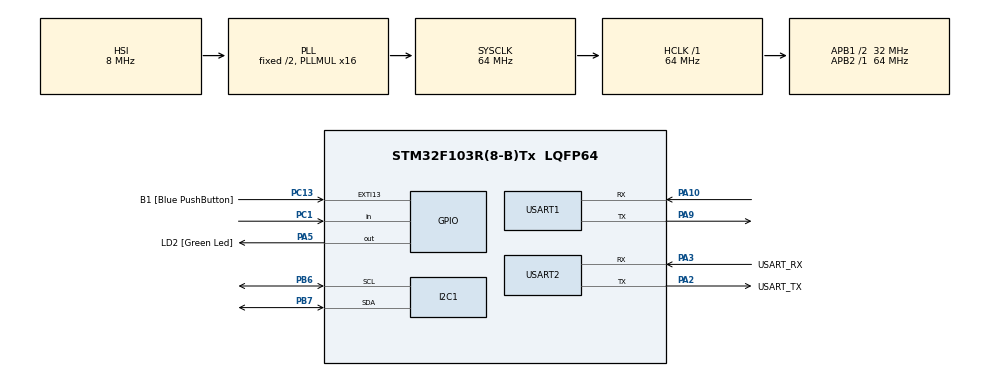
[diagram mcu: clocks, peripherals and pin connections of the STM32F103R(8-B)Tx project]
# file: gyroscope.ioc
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Mcu.Family=STM32F1
Mcu.Name=STM32F103R(8-B)Tx
Mcu.Package=LQFP64
NVIC.EXTI15_10_IRQn=true\:0\:0\:false\:false\:true\:true
NVIC.PriorityGroup=NVIC_PRIORITYGROUP_4
NVIC.TIM4_IRQn=true\:0\:0\:false\:false\:true\:true
NVIC.USART1_IRQn=true\:0\:0\:false\:false\:true\:true
PA10.Mode=Asynchronous
PA10.Signal=USART1_RX
PA13.GPIO_Label=TMS
PA13.Mode=Serial_Wire
PA13.Signal=SYS_JTMS-SWDIO
PA14.GPIO_Label=TCK
PA14.Mode=Serial_Wire
PA14.Signal=SYS_JTCK-SWCLK
PA2.GPIO_Label=USART_TX
PA2.GPIO_Mode=GPIO_MODE_AF_PP
PA2.GPIO_PuPd=GPIO_NOPULL
PA2.GPIO_Speed=GPIO_SPEED_FREQ_LOW
PA2.Mode=Asynchronous
PA2.Signal=USART2_TX
PA3.GPIO_Label=USART_RX
PA3.GPIO_Mode=GPIO_MODE_AF_PP
PA3.GPIO_PuPd=GPIO_NOPULL
PA3.GPIO_Speed=GPIO_SPEED_FREQ_LOW
PA3.Mode=Asynchronous
PA3.Signal=USART2_RX
PA5.GPIO_Label=LD2 [Green Led]
PA5.GPIO_ModeDefaultOutputPP=GPIO_MODE_OUTPUT_PP
PA5.GPIO_PuPd=GPIO_NOPULL
PA5.GPIO_Speed=GPIO_SPEED_FREQ_LOW
PA5.Signal=GPIO_Output
PA9.Mode=Asynchronous
PA9.Signal=USART1_TX
PB3.GPIO_Label=SWO
PB3.Signal=SYS_JTDO-TRACESWO
PB6.Mode=I2C
PB6.Signal=I2C1_SCL
PB7.Mode=I2C
PB7.Signal=I2C1_SDA
PC1.Signal=GPIO_Input
PC13-TAMPER-RTC.GPIO_Label=B1 [Blue PushButton]
PC13-TAMPER-RTC.GPIO_PuPd=GPIO_NOPULL
PC13-TAMPER-RTC.Signal=GPXTI13
PC14-OSC32_IN.Mode=LSE-External-Oscillator
PC14-OSC32_IN.Signal=RCC_OSC32_IN
PC15-OSC32_OUT.Mode=LSE-External-Oscillator
PC15-OSC32_OUT.Signal=RCC_OSC32_OUT
PD0-OSC_IN.Mode=HSE-External-Clock-Source
PD0-OSC_IN.Signal=RCC_OSC_IN
PD1-OSC_OUT.Mode=HSE-External-Clock-Source
PD1-OSC_OUT.Signal=RCC_OSC_OUT
ProjectManager.HeapSize=0x200
ProjectManager.StackSize=0x400
ProjectManager.TargetToolchain=TrueSTUDIO
RCC.AHBFreq_Value=64000000
RCC.APB1CLKDivider=RCC_HCLK_DIV2
RCC.APB1Freq_Value=32000000
RCC.APB1TimFreq_Value=64000000
RCC.APB2Freq_Value=64000000
RCC.APB2TimFreq_Value=64000000
RCC.HCLKFreq_Value=64000000
RCC.PLLMUL=RCC_PLL_MUL16
RCC.RTCClockSelection=RCC_RTCCLKSOURCE_LSE
RCC.SYSCLKFreq_VALUE=64000000
RCC.SYSCLKSource=RCC_SYSCLKSOURCE_PLLCLK
RCC.USBFreq_Value=64000000
TIM4.Period=999
TIM4.Prescaler=63999
USART1.VirtualMode=VM_ASYNC
USART2.VirtualMode=VM_ASYNC
VP_TIM4_VS_ClockSourceINT.Mode=Internal
board=NUCLEO-F103RB

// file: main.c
/**
  ******************************************************************************
  * @file           : main.c
  * @brief          : Main program body
  ******************************************************************************
  ** This notice applies to any and all portions of this file
  * that are not between comment pairs USER CODE BEGIN and
  * USER CODE END. Other portions of this file, whether
  * inserted by the user or by software development tools
  * are owned by their respective copyright owners.
  *
  * COPYRIGHT(c) 2018 STMicroelectronics
  *
  * Redistribution and use in source and binary forms, with or without modification,
  * are permitted provided that the following conditions are met:
  *   1. Redistributions of source code must retain the above copyright notice,
  *      this list of conditions and the following disclaimer.
  *   2. Redistributions in binary form must reproduce the above copyright notice,
  *      this list of conditions and the following disclaimer in the documentation
  *      and/or other materials provided with the distribution.
  *   3. Neither the name of STMicroelectronics nor the names of its contributors
  *      may be used to endorse or promote products derived from this software
  *      without specific prior written permission.
  *
  * THIS SOFTWARE IS PROVIDED BY THE COPYRIGHT HOLDERS AND CONTRIBUTORS "AS IS"
  * AND ANY EXPRESS OR IMPLIED WARRANTIES, INCLUDING, BUT NOT LIMITED TO, THE
  * IMPLIED WARRANTIES OF MERCHANTABILITY AND FITNESS FOR A PARTICULAR PURPOSE ARE
  * DISCLAIMED. IN NO EVENT SHALL THE COPYRIGHT HOLDER OR CONTRIBUTORS BE LIABLE
  * FOR ANY DIRECT, INDIRECT, INCIDENTAL, SPECIAL, EXEMPLARY, OR CONSEQUENTIAL
  * DAMAGES (INCLUDING, BUT NOT LIMITED TO, PROCUREMENT OF SUBSTITUTE GOODS OR
  * SERVICES; LOSS OF USE, DATA, OR PROFITS; OR BUSINESS INTERRUPTION) HOWEVER
  * CAUSED AND ON ANY THEORY OF LIABILITY, WHETHER IN CONTRACT, STRICT LIABILITY,
  * OR TORT (INCLUDING NEGLIGENCE OR OTHERWISE) ARISING IN ANY WAY OUT OF THE USE
  * OF THIS SOFTWARE, EVEN IF ADVISED OF THE POSSIBILITY OF SUCH DAMAGE.
  *
  ******************************************************************************
  */
#include "main.h"
#include "stm32f1xx_hal.h"
/* USER CODE BEGIN Includes */
#include <string.h>
/* USER CODE END Includes */

I2C_HandleTypeDef hi2c1;

TIM_HandleTypeDef htim4;

UART_HandleTypeDef huart1;
UART_HandleTypeDef huart2;

/* USER CODE BEGIN PV */
/* Private variables ---------------------------------------------------------*/
#define GYRO_ADDRESS 0xd5 //(0x35 << 2) //1101 01xx
#define GYRO_ADDRESS_WRITE 	0xd4
#define GYRO_CTRL1_REG 0x20 // 010 0000
#define GYRO_XYZ_ENABLE 0x07 // 0000 0111
#define GYRO_POWER_ON 0x08 // 0000 1000
#define GYRO_Z_H 0x2D // 010 1101

uint8_t settings = GYRO_XYZ_ENABLE | GYRO_POWER_ON;
uint8_t data = 0; // Zmienna do bezposredniego odczytu z akcelerometru
int16_t z_axis = 0; // Zawiera przeksztalcona forme odczytanych danych
char data_to_send[100];
/* USER CODE END PV */

void SystemClock_Config(void);
static void MX_GPIO_Init(void);
static void MX_USART2_UART_Init(void);
static void MX_USART1_UART_Init(void);
static void MX_TIM4_Init(void);
static void MX_I2C1_Init(void);

/* USER CODE BEGIN PFP */
/* Private function prototypes -----------------------------------------------*/
void send_string(char* s)
{
 HAL_UART_Transmit(&huart2, (uint8_t*)s, strlen(s), 1000);
}
uint8_t lsm_read_reg(uint8_t reg)
{
 uint8_t value = 0;

 HAL_I2C_Mem_Read(&hi2c1, GYRO_ADDRESS, reg, 1, &value, sizeof(value), 100);

 return value;
}
/* USER CODE END PFP */

int main(void)
{

  /* MCU Configuration----------------------------------------------------------*/

  /* Reset of all peripherals, Initializes the Flash interface and the Systick. */
  HAL_Init();

  /* USER CODE BEGIN Init */
  __HAL_RCC_I2C1_CLK_ENABLE();
  GPIO_InitTypeDef gpio;
  gpio.Mode = GPIO_MODE_AF_OD;
  gpio.Pin = GPIO_PIN_6 | GPIO_PIN_7; // SCL, SDA
  gpio.Pull = GPIO_PULLUP;
  gpio.Speed = GPIO_SPEED_FREQ_LOW;
  HAL_GPIO_Init(GPIOB, &gpio);

  hi2c1.Instance = I2C1;
  hi2c1.Init.ClockSpeed = 100000;
  hi2c1.Init.DutyCycle = I2C_DUTYCYCLE_2;
  hi2c1.Init.OwnAddress1 = 0xff;
  hi2c1.Init.AddressingMode = I2C_ADDRESSINGMODE_7BIT;
  hi2c1.Init.DualAddressMode = I2C_DUALADDRESS_DISABLE;
  hi2c1.Init.OwnAddress2 = 0xff;
  hi2c1.Init.GeneralCallMode = I2C_GENERALCALL_DISABLE;
  hi2c1.Init.NoStretchMode = I2C_NOSTRETCH_DISABLE;
  HAL_I2C_Init(&hi2c1);
  /* USER CODE END Init */

  /* Configure the system clock */
  SystemClock_Config();

  /* Initialize all configured peripherals */
  MX_GPIO_Init();
  MX_USART2_UART_Init();
  MX_USART1_UART_Init();
  MX_TIM4_Init();
  MX_I2C1_Init();
  /* USER CODE BEGIN 2 */
  HAL_I2C_Mem_Write(&hi2c1, GYRO_ADDRESS_WRITE, GYRO_CTRL1_REG, 10, &settings, 1, 100);

  uint8_t who_am_i = lsm_read_reg(0x0f);

  if (who_am_i == 0xD7) {
  send_string("Znaleziono żyroskop\n");
  } else {
  send_string("Niepoprawna odpowiedź układu \n");
  sprintf(data_to_send,"%d", who_am_i);
  send_string(data_to_send);
  }
  /* USER CODE END 2 */

  /* Infinite loop */
  /* USER CODE BEGIN WHILE */
  while (1)
  {
//	  HAL_I2C_Mem_Read(&hi2c1, GYRO_ADDRESS, GYRO_Z_H, 1, &data, 1, 100);
//	  z_axis = data << 8;
//
//	  sprintf(data_to_send, "%d", z_axis);
//	  send_string(data_to_send);
  /* USER CODE END WHILE */

  }

}

void SystemClock_Config(void)
{

  RCC_OscInitTypeDef RCC_OscInitStruct;
  RCC_ClkInitTypeDef RCC_ClkInitStruct;

    /**Initializes the CPU, AHB and APB busses clocks
    */
  RCC_OscInitStruct.OscillatorType = RCC_OSCILLATORTYPE_HSI;
  RCC_OscInitStruct.HSIState = RCC_HSI_ON;
  RCC_OscInitStruct.HSICalibrationValue = 16;
  RCC_OscInitStruct.PLL.PLLState = RCC_PLL_ON;
  RCC_OscInitStruct.PLL.PLLSource = RCC_PLLSOURCE_HSI_DIV2;
  RCC_OscInitStruct.PLL.PLLMUL = RCC_PLL_MUL16;
  if (HAL_RCC_OscConfig(&RCC_OscInitStruct) != HAL_OK)
  {
    _Error_Handler(__FILE__, __LINE__);
  }

    /**Initializes the CPU, AHB and APB busses clocks
    */
  RCC_ClkInitStruct.ClockType = RCC_CLOCKTYPE_HCLK|RCC_CLOCKTYPE_SYSCLK
                              |RCC_CLOCKTYPE_PCLK1|RCC_CLOCKTYPE_PCLK2;
  RCC_ClkInitStruct.SYSCLKSource = RCC_SYSCLKSOURCE_PLLCLK;
  RCC_ClkInitStruct.AHBCLKDivider = RCC_SYSCLK_DIV1;
  RCC_ClkInitStruct.APB1CLKDivider = RCC_HCLK_DIV2;
  RCC_ClkInitStruct.APB2CLKDivider = RCC_HCLK_DIV1;

  if (HAL_RCC_ClockConfig(&RCC_ClkInitStruct, FLASH_LATENCY_2) != HAL_OK)
  {
    _Error_Handler(__FILE__, __LINE__);
  }

    /**Configure the Systick interrupt time
    */
  HAL_SYSTICK_Config(HAL_RCC_GetHCLKFreq()/1000);

    /**Configure the Systick
    */
  HAL_SYSTICK_CLKSourceConfig(SYSTICK_CLKSOURCE_HCLK);

  /* SysTick_IRQn interrupt configuration */
  HAL_NVIC_SetPriority(SysTick_IRQn, 0, 0);
}

/* I2C1 init function */
static void MX_I2C1_Init(void)
{

  hi2c1.Instance = I2C1;
  hi2c1.Init.ClockSpeed = 100000;
  hi2c1.Init.DutyCycle = I2C_DUTYCYCLE_2;
  hi2c1.Init.OwnAddress1 = 0;
  hi2c1.Init.AddressingMode = I2C_ADDRESSINGMODE_7BIT;
  hi2c1.Init.DualAddressMode = I2C_DUALADDRESS_DISABLE;
  hi2c1.Init.OwnAddress2 = 0;
  hi2c1.Init.GeneralCallMode = I2C_GENERALCALL_DISABLE;
  hi2c1.Init.NoStretchMode = I2C_NOSTRETCH_DISABLE;
  if (HAL_I2C_Init(&hi2c1) != HAL_OK)
  {
    _Error_Handler(__FILE__, __LINE__);
  }

}

/* TIM4 init function */
static void MX_TIM4_Init(void)
{

  TIM_ClockConfigTypeDef sClockSourceConfig;
  TIM_MasterConfigTypeDef sMasterConfig;

  htim4.Instance = TIM4;
  htim4.Init.Prescaler = 63999;
  htim4.Init.CounterMode = TIM_COUNTERMODE_UP;
  htim4.Init.Period = 999;
  htim4.Init.ClockDivision = TIM_CLOCKDIVISION_DIV1;
  htim4.Init.AutoReloadPreload = TIM_AUTORELOAD_PRELOAD_DISABLE;
  if (HAL_TIM_Base_Init(&htim4) != HAL_OK)
  {
    _Error_Handler(__FILE__, __LINE__);
  }

  sClockSourceConfig.ClockSource = TIM_CLOCKSOURCE_INTERNAL;
  if (HAL_TIM_ConfigClockSource(&htim4, &sClockSourceConfig) != HAL_OK)
  {
    _Error_Handler(__FILE__, __LINE__);
  }

  sMasterConfig.MasterOutputTrigger = TIM_TRGO_RESET;
  sMasterConfig.MasterSlaveMode = TIM_MASTERSLAVEMODE_DISABLE;
  if (HAL_TIMEx_MasterConfigSynchronization(&htim4, &sMasterConfig) != HAL_OK)
  {
    _Error_Handler(__FILE__, __LINE__);
  }

}

/* USART1 init function */
static void MX_USART1_UART_Init(void)
{

  huart1.Instance = USART1;
  huart1.Init.BaudRate = 115200;
  huart1.Init.WordLength = UART_WORDLENGTH_8B;
  huart1.Init.StopBits = UART_STOPBITS_1;
  huart1.Init.Parity = UART_PARITY_NONE;
  huart1.Init.Mode = UART_MODE_TX_RX;
  huart1.Init.HwFlowCtl = UART_HWCONTROL_NONE;
  huart1.Init.OverSampling = UART_OVERSAMPLING_16;
  if (HAL_UART_Init(&huart1) != HAL_OK)
  {
    _Error_Handler(__FILE__, __LINE__);
  }

}

/* USART2 init function */
static void MX_USART2_UART_Init(void)
{

  huart2.Instance = USART2;
  huart2.Init.BaudRate = 115200;
  huart2.Init.WordLength = UART_WORDLENGTH_8B;
  huart2.Init.StopBits = UART_STOPBITS_1;
  huart2.Init.Parity = UART_PARITY_NONE;
  huart2.Init.Mode = UART_MODE_TX_RX;
  huart2.Init.HwFlowCtl = UART_HWCONTROL_NONE;
  huart2.Init.OverSampling = UART_OVERSAMPLING_16;
  if (HAL_UART_Init(&huart2) != HAL_OK)
  {
    _Error_Handler(__FILE__, __LINE__);
  }

}

/** Configure pins as
        * Analog
        * Input
        * Output
        * EVENT_OUT
        * EXTI
*/
static void MX_GPIO_Init(void)
{

  GPIO_InitTypeDef GPIO_InitStruct;

  /* GPIO Ports Clock Enable */
  __HAL_RCC_GPIOC_CLK_ENABLE();
  __HAL_RCC_GPIOD_CLK_ENABLE();
  __HAL_RCC_GPIOA_CLK_ENABLE();
  __HAL_RCC_GPIOB_CLK_ENABLE();

  /*Configure GPIO pin Output Level */
  HAL_GPIO_WritePin(LD2_GPIO_Port, LD2_Pin, GPIO_PIN_RESET);

  /*Configure GPIO pin : B1_Pin */
  GPIO_InitStruct.Pin = B1_Pin;
  GPIO_InitStruct.Mode = GPIO_MODE_IT_RISING;
  GPIO_InitStruct.Pull = GPIO_NOPULL;
  HAL_GPIO_Init(B1_GPIO_Port, &GPIO_InitStruct);

  /*Configure GPIO pin : PC1 */
  GPIO_InitStruct.Pin = GPIO_PIN_1;
  GPIO_InitStruct.Mode = GPIO_MODE_INPUT;
  GPIO_InitStruct.Pull = GPIO_NOPULL;
  HAL_GPIO_Init(GPIOC, &GPIO_InitStruct);

  /*Configure GPIO pin : LD2_Pin */
  GPIO_InitStruct.Pin = LD2_Pin;
  GPIO_InitStruct.Mode = GPIO_MODE_OUTPUT_PP;
  GPIO_InitStruct.Pull = GPIO_NOPULL;
  GPIO_InitStruct.Speed = GPIO_SPEED_FREQ_LOW;
  HAL_GPIO_Init(LD2_GPIO_Port, &GPIO_InitStruct);

  /* EXTI interrupt init*/
  HAL_NVIC_SetPriority(EXTI15_10_IRQn, 0, 0);
  HAL_NVIC_EnableIRQ(EXTI15_10_IRQn);

}

void _Error_Handler(char *file, int line)
{
  while(1)
  {
  }
}

/************************ (C) COPYRIGHT STMicroelectronics *****END OF FILE****/
